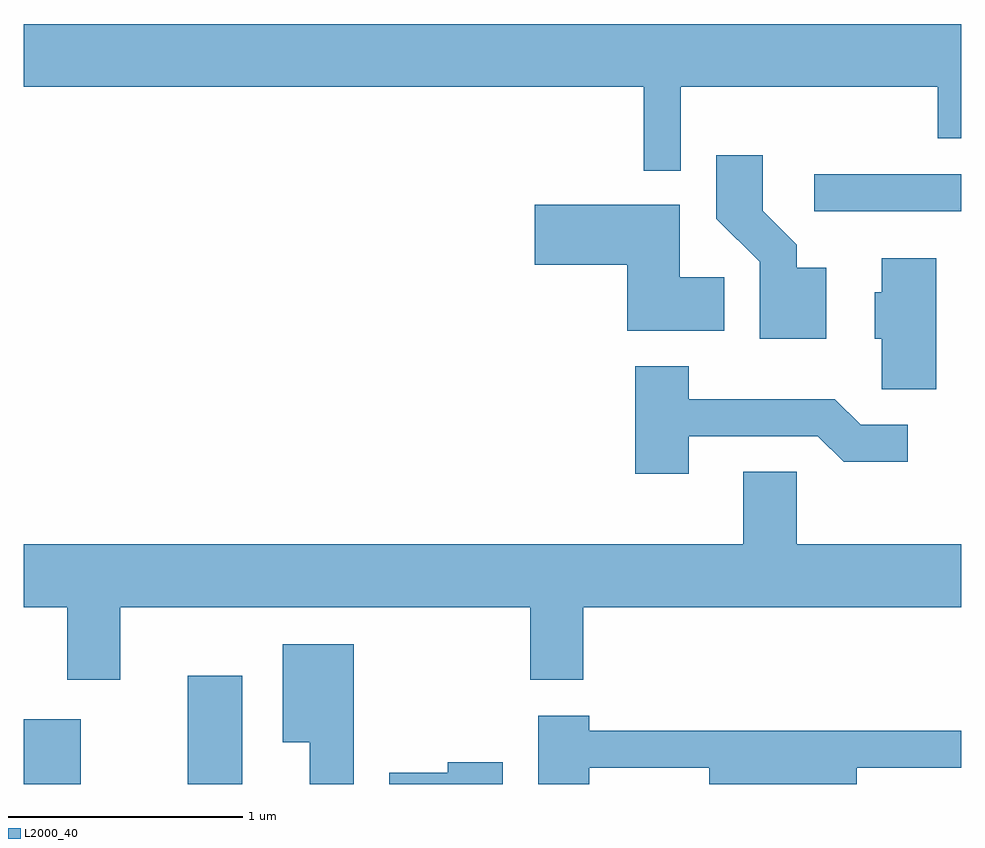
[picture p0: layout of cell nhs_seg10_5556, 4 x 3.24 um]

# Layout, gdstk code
import gdstk
lib = gdstk.Library(unit=1e-6, precision=1e-09)
def R(c, l, rs):  # rectangles x0, y0, x1, y1
    for r in rs: c.add(gdstk.rectangle(r[:2], r[2:], *l))
def P(c, l, *ps):  # polygons
    for p in ps: c.add(gdstk.Polygon(p, *l))
L2000_40 = (2000, 40)

nhs_seg10_5556 = lib.new_cell('nhs_seg10_5556')
R(nhs_seg10_5556, L2000_40, [(349.611,2086.522,349.854,2086.799), (350.311,2086.522,350.544,2086.984), (352.983,2088.966,353.611,2089.124)])
P(nhs_seg10_5556, L2000_40, [(352.414,2089.496),(353.511,2089.496),(353.511,2089.276),(353.611,2089.276),(353.611,2089.764),(349.611,2089.764),(349.611,2089.496),(352.256,2089.496),(352.256,2089.137),(352.414,2089.137)],
  [(353.034,2088.724),(352.909,2088.724),(352.909,2088.822),(352.764,2088.967),(352.764,2089.204),(352.566,2089.204),(352.566,2088.934),(352.751,2088.749),(352.751,2088.421),(353.034,2088.421)],
  [(352.599,2088.684),(352.409,2088.684),(352.409,2088.994),(351.791,2088.994),(351.791,2088.736),(352.186,2088.736),(352.186,2088.456),(352.599,2088.456)],
  [(353.504,2088.764),(353.271,2088.764),(353.271,2088.619),(353.241,2088.619),(353.241,2088.421),(353.271,2088.421),(353.271,2088.206),(353.504,2088.206)],
  [(352.449,2088.006),(352.999,2088.006),(353.109,2087.896),(353.383,2087.896),(353.383,2088.054),(353.182,2088.054),(353.072,2088.164),(352.449,2088.164),(352.449,2088.304),(352.221,2088.304),(352.221,2087.846),(352.449,2087.846)],
  [(350.024,2087.276),(351.771,2087.276),(351.771,2086.966),(351.999,2086.966),(351.999,2087.276),(353.611,2087.276),(353.611,2087.544),(352.909,2087.544),(352.909,2087.854),(352.681,2087.854),(352.681,2087.544),(349.611,2087.544),(349.611,2087.276),(349.796,2087.276),(349.796,2086.966),(350.024,2086.966)],
  [(351.019,2087.119),(350.716,2087.119),(350.716,2086.701),(350.831,2086.701),(350.831,2086.522),(351.019,2086.522)],
  [(352.024,2086.591),(352.536,2086.591),(352.536,2086.522),(353.164,2086.522),(353.164,2086.591),(353.611,2086.591),(353.611,2086.749),(352.024,2086.749),(352.024,2086.814),(351.806,2086.814),(351.806,2086.522),(352.024,2086.522)],
  [(351.654,2086.614),(351.421,2086.614),(351.421,2086.569),(351.171,2086.569),(351.171,2086.522),(351.654,2086.522)])

lib.write_gds('nhs_seg10_5556.gds')
